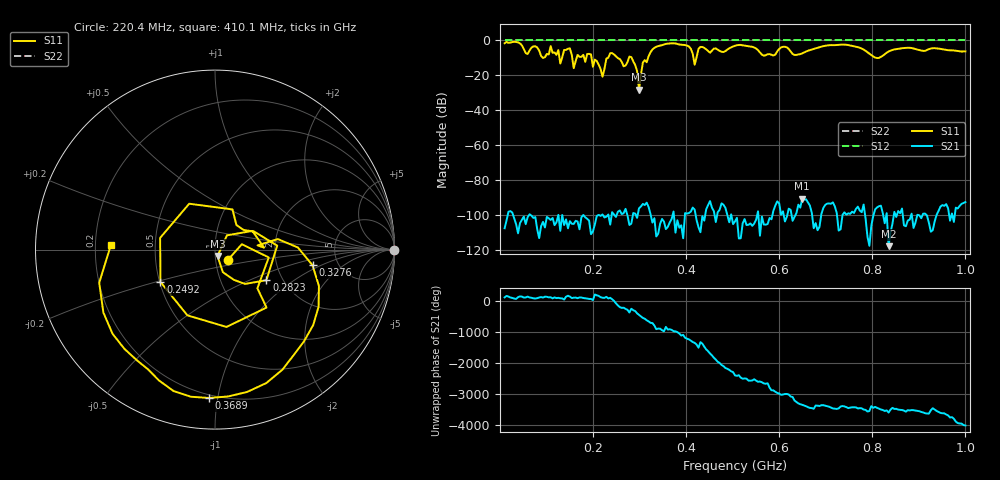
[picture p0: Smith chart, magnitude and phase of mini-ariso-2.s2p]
! Anritsu VNA Master:  Model: MS2024B
! SN:  2417009
! /card0/usr/mini-ariso-2.s2p
! Existing Calibration Information:
! TYPE:  Current Settings,  Active Cal Settings
! TIME:  09/04/2026 04:29:51 AM,  09/04/2026 12:15:56 AM
! INTERNAL TEMP:  53.0 C,  43.8 C
! # POINTS:  241,  241
! START FREQ:  10.000 MHz,  10.000 MHz
! STOP FREQ:  1.000 GHz,  1.000 GHz
! SOURCE POWER:  Default,  Default
! IFBW:  1 kHz,  1 kHz
! AVG FACTOR:  16 ,  1
! REF PLANE 1:  0 mm,  0 mm
! REF PLANE 2:  0 mm,  0 mm
! CAL TYPE:  Full S11,  Full S11
! CAL METHOD:  SOLT,  SOLT
! CAL LINE TYPE:  Coax,  Coax
! DUT PORT 1:  N-Conn(M),  N-Conn(M)
! DUT PORT 2:  N-Conn(M),  N-Conn(M)
! CAL STATUS:  ?T: Accuracy moderate (|Temp diff| > 5.0 C),  --
# GHZ S DB R 50.0
! FREQ.GHZ  S11DB  S11A  S21DB  S21A  S12DB  S12A  S22DB  S22A
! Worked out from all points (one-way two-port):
!   241 points, 10 MHz to 1 GHz, reference 50 ohm
!   highest |S21| = -90.48 dB at 649.4 MHz (marker M1); lowest = -117.7 dB at 835 MHz (marker M2)
!   lowest |S11| = -28.2 dB at 298.8 MHz (marker M3), VSWR 1.08, Z = 51.3 - j3.71 ohm
!   |S11| at or under -10 dB: 196.8 MHz to 231.9 MHz (35.12 MHz wide, 16.4 % of centre); 253 MHz to 277.1 MHz (24.08 MHz wide, 9.08 % of centre); 283 MHz to 318.2 MHz (35.15 MHz wide, 11.7 % of centre)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
!   |S22| runs from 0.0 to 0.0 dB; largest |S21 - S12| = 1
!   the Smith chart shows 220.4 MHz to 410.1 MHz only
!   S11 on the Smith chart (normalised r, x): 220.4 MHz: 1.15, -0.13; 249.2 MHz: 0.51, -0.21; 282.2 MHz: 1.65, -0.63; 327.6 MHz: 3.23, -0.81; 368.9 MHz: 0.18, -0.94; 410.1 MHz: 0.27, +0.02
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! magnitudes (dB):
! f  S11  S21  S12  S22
! 10 MHz  -1.6  -107.4  0.0  0.0
! 109 MHz  -3.2  -102.7  0.0  0.0
! 129.6 MHz  -13.2  -108.9  0.0  0.0
! 150.2 MHz  -4.6  -103.4  0.0  0.0
! 158.5 MHz  -15.9  -105.0  0.0  0.0
! 175 MHz  -9.4  -101.1  0.0  0.0
! 220.4 MHz  -20.7  -99.6  0.0  0.0
! 249.2 MHz  -9.0  -101.0  0.0  0.0
! 282.2 MHz  -9.5  -104.8  0.0  0.0
! 298.8 MHz  -28.2  -96.0  0.0  0.0
! 307 MHz  -12.7  -93.5  0.0  0.0
! 327.6 MHz  -5.2  -104.2  0.0  0.0
! 340 MHz  -3.2  -110.5  0.0  0.0
! 368.9 MHz  -1.6  -102.1  0.0  0.0
! 410.1 MHz  -4.7  -97.9  0.0  0.0
! 418.4 MHz  -13.8  -96.8  0.0  0.0
! 430.8 MHz  -3.7  -109.7  0.0  0.0
! 505 MHz  -3.0  -103.5  0.0  0.0
! 649.4 MHz  -7.4  -90.5  0.0  0.0
! 670 MHz  -5.2  -98.6  0.0  0.0
! 835 MHz  -6.3  -117.7  0.0  0.0
! 1 GHz  -6.3  -92.5  0.0  0.0
